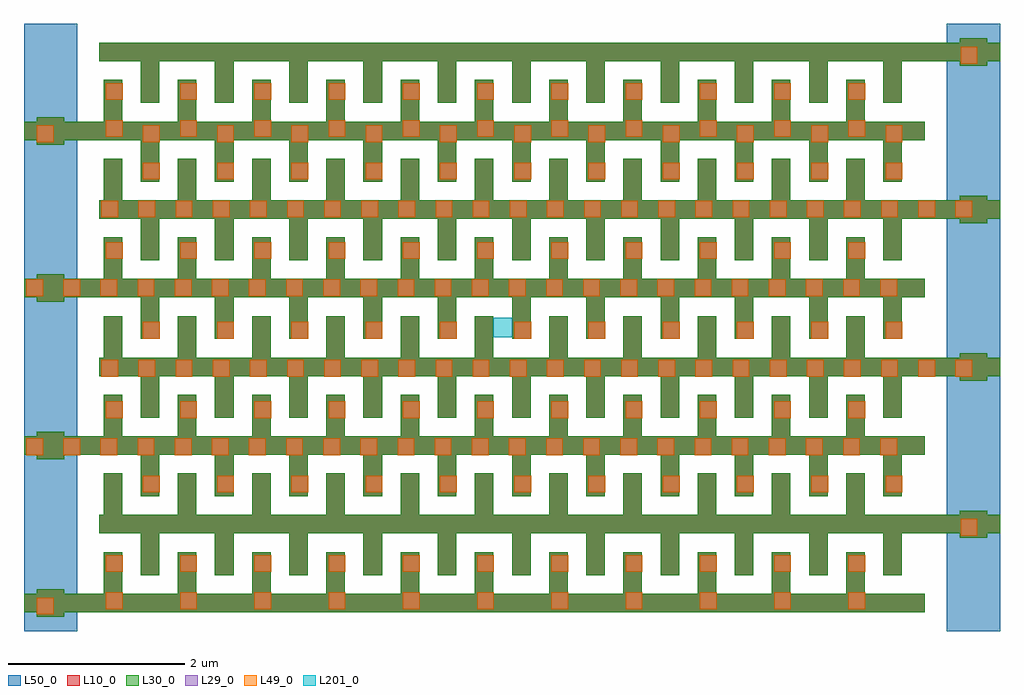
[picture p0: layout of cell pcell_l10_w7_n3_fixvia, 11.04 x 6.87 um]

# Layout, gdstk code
import gdstk
lib = gdstk.Library(unit=1e-6, precision=1e-09)
def R(c, l, rs):  # rectangles x0, y0, x1, y1
    for r in rs: c.add(gdstk.rectangle(r[:2], r[2:], *l))
def A(c, l, x, y, w, h, nx, ny, dx, dy):  # array of equal rectangles
    R(c, l, [(x+i*dx, y+j*dy, x+i*dx+w, y+j*dy+h) for i in range(nx) for j in range(ny)])
def P(c, l, *ps):  # polygons
    for p in ps: c.add(gdstk.Polygon(p, *l))
L10_0 = (10, 0)
L29_0 = (29, 0)
L30_0 = (30, 0)
L49_0 = (49, 0)
L50_0 = (50, 0)
L201_0 = (201, 0)

pcell_l10_w7_n3_fixvia = lib.new_cell('pcell_l10_w7_n3_fixvia')
P(pcell_l10_w7_n3_fixvia, L10_0, [(-0.755,-0.155),(-0.755,-0.105),(-0.9,-0.105),(-0.9,0.105),(-0.755,0.105),(-0.755,0.155),(-0.445,0.155),(-0.445,0.105),(0,0.105),(0,0.575),(0.21,0.575),(0.21,0.105),(0.84,0.105),(0.84,0.575),(1.05,0.575),(1.05,0.105),(1.68,0.105),(1.68,0.575),(1.89,0.575),(1.89,0.105),(2.52,0.105),(2.52,0.575),(2.73,0.575),(2.73,0.105),(3.36,0.105),(3.36,0.575),(3.57,0.575),(3.57,0.105),(4.2,0.105),(4.2,0.575),(4.41,0.575),(4.41,0.105),(5.04,0.105),(5.04,0.575),(5.25,0.575),(5.25,0.105),(5.88,0.105),(5.88,0.575),(6.09,0.575),(6.09,0.105),(6.72,0.105),(6.72,0.575),(6.93,0.575),(6.93,0.105),(7.56,0.105),(7.56,0.575),(7.77,0.575),(7.77,0.105),(8.4,0.105),(8.4,0.575),(8.61,0.575),(8.61,0.105),(9.29,0.105),(9.29,-0.105),(-0.445,-0.105),(-0.445,-0.155)],
  [(0.42,1.205),(0.42,1.675),(-0.445,1.675),(-0.445,1.625),(-0.755,1.625),(-0.755,1.675),(-0.9,1.675),(-0.9,1.885),(-0.755,1.885),(-0.755,1.935),(-0.445,1.935),(-0.445,1.885),(0,1.885),(0,2.355),(0.21,2.355),(0.21,1.885),(0.84,1.885),(0.84,2.355),(1.05,2.355),(1.05,1.885),(1.68,1.885),(1.68,2.355),(1.89,2.355),(1.89,1.885),(2.52,1.885),(2.52,2.355),(2.73,2.355),(2.73,1.885),(3.36,1.885),(3.36,2.355),(3.57,2.355),(3.57,1.885),(4.2,1.885),(4.2,2.355),(4.41,2.355),(4.41,1.885),(5.04,1.885),(5.04,2.355),(5.25,2.355),(5.25,1.885),(5.88,1.885),(5.88,2.355),(6.09,2.355),(6.09,1.885),(6.72,1.885),(6.72,2.355),(6.93,2.355),(6.93,1.885),(7.56,1.885),(7.56,2.355),(7.77,2.355),(7.77,1.885),(8.4,1.885),(8.4,2.355),(8.61,2.355),(8.61,1.885),(9.29,1.885),(9.29,1.675),(9.03,1.675),(9.03,1.205),(8.82,1.205),(8.82,1.675),(8.19,1.675),(8.19,1.205),(7.98,1.205),(7.98,1.675),(7.35,1.675),(7.35,1.205),(7.14,1.205),(7.14,1.675),(6.51,1.675),(6.51,1.205),(6.3,1.205),(6.3,1.675),(5.67,1.675),(5.67,1.205),(5.46,1.205),(5.46,1.675),(4.83,1.675),(4.83,1.205),(4.62,1.205),(4.62,1.675),(3.99,1.675),(3.99,1.205),(3.78,1.205),(3.78,1.675),(3.15,1.675),(3.15,1.205),(2.94,1.205),(2.94,1.675),(2.31,1.675),(2.31,1.205),(2.1,1.205),(2.1,1.675),(1.47,1.675),(1.47,1.205),(1.26,1.205),(1.26,1.675),(0.63,1.675),(0.63,1.205)],
  [(0.42,2.985),(0.42,3.455),(-0.445,3.455),(-0.445,3.405),(-0.755,3.405),(-0.755,3.455),(-0.9,3.455),(-0.9,3.665),(-0.755,3.665),(-0.755,3.715),(-0.445,3.715),(-0.445,3.665),(0,3.665),(0,4.135),(0.21,4.135),(0.21,3.665),(0.84,3.665),(0.84,4.135),(1.05,4.135),(1.05,3.665),(1.68,3.665),(1.68,4.135),(1.89,4.135),(1.89,3.665),(2.52,3.665),(2.52,4.135),(2.73,4.135),(2.73,3.665),(3.36,3.665),(3.36,4.135),(3.57,4.135),(3.57,3.665),(4.2,3.665),(4.2,4.135),(4.41,4.135),(4.41,3.665),(5.04,3.665),(5.04,4.135),(5.25,4.135),(5.25,3.665),(5.88,3.665),(5.88,4.135),(6.09,4.135),(6.09,3.665),(6.72,3.665),(6.72,4.135),(6.93,4.135),(6.93,3.665),(7.56,3.665),(7.56,4.135),(7.77,4.135),(7.77,3.665),(8.4,3.665),(8.4,4.135),(8.61,4.135),(8.61,3.665),(9.29,3.665),(9.29,3.455),(9.03,3.455),(9.03,2.985),(8.82,2.985),(8.82,3.455),(8.19,3.455),(8.19,2.985),(7.98,2.985),(7.98,3.455),(7.35,3.455),(7.35,2.985),(7.14,2.985),(7.14,3.455),(6.51,3.455),(6.51,2.985),(6.3,2.985),(6.3,3.455),(5.67,3.455),(5.67,2.985),(5.46,2.985),(5.46,3.455),(4.83,3.455),(4.83,2.985),(4.62,2.985),(4.62,3.455),(3.99,3.455),(3.99,2.985),(3.78,2.985),(3.78,3.455),(3.15,3.455),(3.15,2.985),(2.94,2.985),(2.94,3.455),(2.31,3.455),(2.31,2.985),(2.1,2.985),(2.1,3.455),(1.47,3.455),(1.47,2.985),(1.26,2.985),(1.26,3.455),(0.63,3.455),(0.63,2.985)],
  [(0.42,4.765),(0.42,5.235),(-0.445,5.235),(-0.445,5.185),(-0.755,5.185),(-0.755,5.235),(-0.9,5.235),(-0.9,5.445),(-0.755,5.445),(-0.755,5.495),(-0.445,5.495),(-0.445,5.445),(0,5.445),(0,5.915),(0.21,5.915),(0.21,5.445),(0.84,5.445),(0.84,5.915),(1.05,5.915),(1.05,5.445),(1.68,5.445),(1.68,5.915),(1.89,5.915),(1.89,5.445),(2.52,5.445),(2.52,5.915),(2.73,5.915),(2.73,5.445),(3.36,5.445),(3.36,5.915),(3.57,5.915),(3.57,5.445),(4.2,5.445),(4.2,5.915),(4.41,5.915),(4.41,5.445),(5.04,5.445),(5.04,5.915),(5.25,5.915),(5.25,5.445),(5.88,5.445),(5.88,5.915),(6.09,5.915),(6.09,5.445),(6.72,5.445),(6.72,5.915),(6.93,5.915),(6.93,5.445),(7.56,5.445),(7.56,5.915),(7.77,5.915),(7.77,5.445),(8.4,5.445),(8.4,5.915),(8.61,5.915),(8.61,5.445),(9.29,5.445),(9.29,5.235),(9.03,5.235),(9.03,4.765),(8.82,4.765),(8.82,5.235),(8.19,5.235),(8.19,4.765),(7.98,4.765),(7.98,5.235),(7.35,5.235),(7.35,4.765),(7.14,4.765),(7.14,5.235),(6.51,5.235),(6.51,4.765),(6.3,4.765),(6.3,5.235),(5.67,5.235),(5.67,4.765),(5.46,4.765),(5.46,5.235),(4.83,5.235),(4.83,4.765),(4.62,4.765),(4.62,5.235),(3.99,5.235),(3.99,4.765),(3.78,4.765),(3.78,5.235),(3.15,5.235),(3.15,4.765),(2.94,4.765),(2.94,5.235),(2.31,5.235),(2.31,4.765),(2.1,4.765),(2.1,5.235),(1.47,5.235),(1.47,4.765),(1.26,4.765),(1.26,5.235),(0.63,5.235),(0.63,4.765)],
  [(0.42,0.315),(0.42,0.785),(-0.05,0.785),(-0.05,0.995),(0,0.995),(0,1.465),(0.21,1.465),(0.21,0.995),(0.84,0.995),(0.84,1.465),(1.05,1.465),(1.05,0.995),(1.68,0.995),(1.68,1.465),(1.89,1.465),(1.89,0.995),(2.52,0.995),(2.52,1.465),(2.73,1.465),(2.73,0.995),(3.36,0.995),(3.36,1.465),(3.57,1.465),(3.57,0.995),(4.2,0.995),(4.2,1.465),(4.41,1.465),(4.41,0.995),(5.04,0.995),(5.04,1.465),(5.25,1.465),(5.25,0.995),(5.88,0.995),(5.88,1.465),(6.09,1.465),(6.09,0.995),(6.72,0.995),(6.72,1.465),(6.93,1.465),(6.93,0.995),(7.56,0.995),(7.56,1.465),(7.77,1.465),(7.77,0.995),(8.4,0.995),(8.4,1.465),(8.61,1.465),(8.61,0.995),(9.685,0.995),(9.685,1.045),(9.995,1.045),(9.995,0.995),(10.14,0.995),(10.14,0.785),(9.995,0.785),(9.995,0.735),(9.685,0.735),(9.685,0.785),(9.03,0.785),(9.03,0.315),(8.82,0.315),(8.82,0.785),(8.19,0.785),(8.19,0.315),(7.98,0.315),(7.98,0.785),(7.35,0.785),(7.35,0.315),(7.14,0.315),(7.14,0.785),(6.51,0.785),(6.51,0.315),(6.3,0.315),(6.3,0.785),(5.67,0.785),(5.67,0.315),(5.46,0.315),(5.46,0.785),(4.83,0.785),(4.83,0.315),(4.62,0.315),(4.62,0.785),(3.99,0.785),(3.99,0.315),(3.78,0.315),(3.78,0.785),(3.15,0.785),(3.15,0.315),(2.94,0.315),(2.94,0.785),(2.31,0.785),(2.31,0.315),(2.1,0.315),(2.1,0.785),(1.47,0.785),(1.47,0.315),(1.26,0.315),(1.26,0.785),(0.63,0.785),(0.63,0.315)],
  [(0.42,2.095),(0.42,2.565),(-0.05,2.565),(-0.05,2.775),(0,2.775),(0,3.245),(0.21,3.245),(0.21,2.775),(0.84,2.775),(0.84,3.245),(1.05,3.245),(1.05,2.775),(1.68,2.775),(1.68,3.245),(1.89,3.245),(1.89,2.775),(2.52,2.775),(2.52,3.245),(2.73,3.245),(2.73,2.775),(3.36,2.775),(3.36,3.245),(3.57,3.245),(3.57,2.775),(4.2,2.775),(4.2,3.245),(4.41,3.245),(4.41,2.775),(5.04,2.775),(5.04,3.245),(5.25,3.245),(5.25,2.775),(5.88,2.775),(5.88,3.245),(6.09,3.245),(6.09,2.775),(6.72,2.775),(6.72,3.245),(6.93,3.245),(6.93,2.775),(7.56,2.775),(7.56,3.245),(7.77,3.245),(7.77,2.775),(8.4,2.775),(8.4,3.245),(8.61,3.245),(8.61,2.775),(9.685,2.775),(9.685,2.825),(9.995,2.825),(9.995,2.775),(10.14,2.775),(10.14,2.565),(9.995,2.565),(9.995,2.515),(9.685,2.515),(9.685,2.565),(9.03,2.565),(9.03,2.095),(8.82,2.095),(8.82,2.565),(8.19,2.565),(8.19,2.095),(7.98,2.095),(7.98,2.565),(7.35,2.565),(7.35,2.095),(7.14,2.095),(7.14,2.565),(6.51,2.565),(6.51,2.095),(6.3,2.095),(6.3,2.565),(5.67,2.565),(5.67,2.095),(5.46,2.095),(5.46,2.565),(4.83,2.565),(4.83,2.095),(4.62,2.095),(4.62,2.565),(3.99,2.565),(3.99,2.095),(3.78,2.095),(3.78,2.565),(3.15,2.565),(3.15,2.095),(2.94,2.095),(2.94,2.565),(2.31,2.565),(2.31,2.095),(2.1,2.095),(2.1,2.565),(1.47,2.565),(1.47,2.095),(1.26,2.095),(1.26,2.565),(0.63,2.565),(0.63,2.095)],
  [(0.42,3.875),(0.42,4.345),(-0.05,4.345),(-0.05,4.555),(0,4.555),(0,5.025),(0.21,5.025),(0.21,4.555),(0.84,4.555),(0.84,5.025),(1.05,5.025),(1.05,4.555),(1.68,4.555),(1.68,5.025),(1.89,5.025),(1.89,4.555),(2.52,4.555),(2.52,5.025),(2.73,5.025),(2.73,4.555),(3.36,4.555),(3.36,5.025),(3.57,5.025),(3.57,4.555),(4.2,4.555),(4.2,5.025),(4.41,5.025),(4.41,4.555),(5.04,4.555),(5.04,5.025),(5.25,5.025),(5.25,4.555),(5.88,4.555),(5.88,5.025),(6.09,5.025),(6.09,4.555),(6.72,4.555),(6.72,5.025),(6.93,5.025),(6.93,4.555),(7.56,4.555),(7.56,5.025),(7.77,5.025),(7.77,4.555),(8.4,4.555),(8.4,5.025),(8.61,5.025),(8.61,4.555),(9.685,4.555),(9.685,4.605),(9.995,4.605),(9.995,4.555),(10.14,4.555),(10.14,4.345),(9.995,4.345),(9.995,4.295),(9.685,4.295),(9.685,4.345),(9.03,4.345),(9.03,3.875),(8.82,3.875),(8.82,4.345),(8.19,4.345),(8.19,3.875),(7.98,3.875),(7.98,4.345),(7.35,4.345),(7.35,3.875),(7.14,3.875),(7.14,4.345),(6.51,4.345),(6.51,3.875),(6.3,3.875),(6.3,4.345),(5.67,4.345),(5.67,3.875),(5.46,3.875),(5.46,4.345),(4.83,4.345),(4.83,3.875),(4.62,3.875),(4.62,4.345),(3.99,4.345),(3.99,3.875),(3.78,3.875),(3.78,4.345),(3.15,4.345),(3.15,3.875),(2.94,3.875),(2.94,4.345),(2.31,4.345),(2.31,3.875),(2.1,3.875),(2.1,4.345),(1.47,4.345),(1.47,3.875),(1.26,3.875),(1.26,4.345),(0.63,4.345),(0.63,3.875)],
  [(0.42,5.655),(0.42,6.125),(-0.05,6.125),(-0.05,6.335),(9.685,6.335),(9.685,6.385),(9.995,6.385),(9.995,6.335),(10.14,6.335),(10.14,6.125),(9.995,6.125),(9.995,6.075),(9.685,6.075),(9.685,6.125),(9.03,6.125),(9.03,5.655),(8.82,5.655),(8.82,6.125),(8.19,6.125),(8.19,5.655),(7.98,5.655),(7.98,6.125),(7.35,6.125),(7.35,5.655),(7.14,5.655),(7.14,6.125),(6.51,6.125),(6.51,5.655),(6.3,5.655),(6.3,6.125),(5.67,6.125),(5.67,5.655),(5.46,5.655),(5.46,6.125),(4.83,6.125),(4.83,5.655),(4.62,5.655),(4.62,6.125),(3.99,6.125),(3.99,5.655),(3.78,5.655),(3.78,6.125),(3.15,6.125),(3.15,5.655),(2.94,5.655),(2.94,6.125),(2.31,6.125),(2.31,5.655),(2.1,5.655),(2.1,6.125),(1.47,6.125),(1.47,5.655),(1.26,5.655),(1.26,6.125),(0.63,6.125),(0.63,5.655)])
A(pcell_l10_w7_n3_fixvia, L29_0, 0.025, -0.07, 0.19, 0.19, 11, 2, 0.84, 0.42)
A(pcell_l10_w7_n3_fixvia, L29_0, 0.445, 1.25, 0.19, 0.19, 11, 2, 0.84, 1.74)
A(pcell_l10_w7_n3_fixvia, L29_0, -0.875, 1.67, 0.19, 0.19, 24, 2, 0.42, 1.8)
A(pcell_l10_w7_n3_fixvia, L29_0, 0.025, 2.09, 0.19, 0.19, 11, 2, 0.84, 1.8)
A(pcell_l10_w7_n3_fixvia, L29_0, -0.025, 2.56, 0.19, 0.19, 24, 2, 0.42, 1.8)
A(pcell_l10_w7_n3_fixvia, L29_0, 0.445, 4.79, 0.19, 0.19, 11, 2, 0.84, 0.42)
A(pcell_l10_w7_n3_fixvia, L29_0, 0.025, 5.27, 0.19, 0.19, 11, 2, 0.84, 0.42)
R(pcell_l10_w7_n3_fixvia, L29_0, [(-0.755,-0.13,-0.565,0.06), (9.695,0.76,9.885,0.95), (-0.755,5.21,-0.565,5.4), (9.695,6.1,9.885,6.29)])
P(pcell_l10_w7_n3_fixvia, L30_0, [(-0.755,-0.155),(-0.755,-0.105),(-0.9,-0.105),(-0.9,0.105),(-0.755,0.105),(-0.755,0.155),(-0.445,0.155),(-0.445,0.105),(0,0.105),(0,0.575),(0.21,0.575),(0.21,0.105),(0.84,0.105),(0.84,0.575),(1.05,0.575),(1.05,0.105),(1.68,0.105),(1.68,0.575),(1.89,0.575),(1.89,0.105),(2.52,0.105),(2.52,0.575),(2.73,0.575),(2.73,0.105),(3.36,0.105),(3.36,0.575),(3.57,0.575),(3.57,0.105),(4.2,0.105),(4.2,0.575),(4.41,0.575),(4.41,0.105),(5.04,0.105),(5.04,0.575),(5.25,0.575),(5.25,0.105),(5.88,0.105),(5.88,0.575),(6.09,0.575),(6.09,0.105),(6.72,0.105),(6.72,0.575),(6.93,0.575),(6.93,0.105),(7.56,0.105),(7.56,0.575),(7.77,0.575),(7.77,0.105),(8.4,0.105),(8.4,0.575),(8.61,0.575),(8.61,0.105),(9.29,0.105),(9.29,-0.105),(-0.445,-0.105),(-0.445,-0.155)],
  [(0.42,1.205),(0.42,1.675),(-0.445,1.675),(-0.445,1.625),(-0.755,1.625),(-0.755,1.675),(-0.9,1.675),(-0.9,1.885),(-0.755,1.885),(-0.755,1.935),(-0.445,1.935),(-0.445,1.885),(0,1.885),(0,2.355),(0.21,2.355),(0.21,1.885),(0.84,1.885),(0.84,2.355),(1.05,2.355),(1.05,1.885),(1.68,1.885),(1.68,2.355),(1.89,2.355),(1.89,1.885),(2.52,1.885),(2.52,2.355),(2.73,2.355),(2.73,1.885),(3.36,1.885),(3.36,2.355),(3.57,2.355),(3.57,1.885),(4.2,1.885),(4.2,2.355),(4.41,2.355),(4.41,1.885),(5.04,1.885),(5.04,2.355),(5.25,2.355),(5.25,1.885),(5.88,1.885),(5.88,2.355),(6.09,2.355),(6.09,1.885),(6.72,1.885),(6.72,2.355),(6.93,2.355),(6.93,1.885),(7.56,1.885),(7.56,2.355),(7.77,2.355),(7.77,1.885),(8.4,1.885),(8.4,2.355),(8.61,2.355),(8.61,1.885),(9.29,1.885),(9.29,1.675),(9.03,1.675),(9.03,1.205),(8.82,1.205),(8.82,1.675),(8.19,1.675),(8.19,1.205),(7.98,1.205),(7.98,1.675),(7.35,1.675),(7.35,1.205),(7.14,1.205),(7.14,1.675),(6.51,1.675),(6.51,1.205),(6.3,1.205),(6.3,1.675),(5.67,1.675),(5.67,1.205),(5.46,1.205),(5.46,1.675),(4.83,1.675),(4.83,1.205),(4.62,1.205),(4.62,1.675),(3.99,1.675),(3.99,1.205),(3.78,1.205),(3.78,1.675),(3.15,1.675),(3.15,1.205),(2.94,1.205),(2.94,1.675),(2.31,1.675),(2.31,1.205),(2.1,1.205),(2.1,1.675),(1.47,1.675),(1.47,1.205),(1.26,1.205),(1.26,1.675),(0.63,1.675),(0.63,1.205)],
  [(0.42,2.985),(0.42,3.455),(-0.445,3.455),(-0.445,3.405),(-0.755,3.405),(-0.755,3.455),(-0.9,3.455),(-0.9,3.665),(-0.755,3.665),(-0.755,3.715),(-0.445,3.715),(-0.445,3.665),(0,3.665),(0,4.135),(0.21,4.135),(0.21,3.665),(0.84,3.665),(0.84,4.135),(1.05,4.135),(1.05,3.665),(1.68,3.665),(1.68,4.135),(1.89,4.135),(1.89,3.665),(2.52,3.665),(2.52,4.135),(2.73,4.135),(2.73,3.665),(3.36,3.665),(3.36,4.135),(3.57,4.135),(3.57,3.665),(4.2,3.665),(4.2,4.135),(4.41,4.135),(4.41,3.665),(5.04,3.665),(5.04,4.135),(5.25,4.135),(5.25,3.665),(5.88,3.665),(5.88,4.135),(6.09,4.135),(6.09,3.665),(6.72,3.665),(6.72,4.135),(6.93,4.135),(6.93,3.665),(7.56,3.665),(7.56,4.135),(7.77,4.135),(7.77,3.665),(8.4,3.665),(8.4,4.135),(8.61,4.135),(8.61,3.665),(9.29,3.665),(9.29,3.455),(9.03,3.455),(9.03,2.985),(8.82,2.985),(8.82,3.455),(8.19,3.455),(8.19,2.985),(7.98,2.985),(7.98,3.455),(7.35,3.455),(7.35,2.985),(7.14,2.985),(7.14,3.455),(6.51,3.455),(6.51,2.985),(6.3,2.985),(6.3,3.455),(5.67,3.455),(5.67,2.985),(5.46,2.985),(5.46,3.455),(4.83,3.455),(4.83,2.985),(4.62,2.985),(4.62,3.455),(3.99,3.455),(3.99,2.985),(3.78,2.985),(3.78,3.455),(3.15,3.455),(3.15,2.985),(2.94,2.985),(2.94,3.455),(2.31,3.455),(2.31,2.985),(2.1,2.985),(2.1,3.455),(1.47,3.455),(1.47,2.985),(1.26,2.985),(1.26,3.455),(0.63,3.455),(0.63,2.985)],
  [(0.42,4.765),(0.42,5.235),(-0.445,5.235),(-0.445,5.185),(-0.755,5.185),(-0.755,5.235),(-0.9,5.235),(-0.9,5.445),(-0.755,5.445),(-0.755,5.495),(-0.445,5.495),(-0.445,5.445),(0,5.445),(0,5.915),(0.21,5.915),(0.21,5.445),(0.84,5.445),(0.84,5.915),(1.05,5.915),(1.05,5.445),(1.68,5.445),(1.68,5.915),(1.89,5.915),(1.89,5.445),(2.52,5.445),(2.52,5.915),(2.73,5.915),(2.73,5.445),(3.36,5.445),(3.36,5.915),(3.57,5.915),(3.57,5.445),(4.2,5.445),(4.2,5.915),(4.41,5.915),(4.41,5.445),(5.04,5.445),(5.04,5.915),(5.25,5.915),(5.25,5.445),(5.88,5.445),(5.88,5.915),(6.09,5.915),(6.09,5.445),(6.72,5.445),(6.72,5.915),(6.93,5.915),(6.93,5.445),(7.56,5.445),(7.56,5.915),(7.77,5.915),(7.77,5.445),(8.4,5.445),(8.4,5.915),(8.61,5.915),(8.61,5.445),(9.29,5.445),(9.29,5.235),(9.03,5.235),(9.03,4.765),(8.82,4.765),(8.82,5.235),(8.19,5.235),(8.19,4.765),(7.98,4.765),(7.98,5.235),(7.35,5.235),(7.35,4.765),(7.14,4.765),(7.14,5.235),(6.51,5.235),(6.51,4.765),(6.3,4.765),(6.3,5.235),(5.67,5.235),(5.67,4.765),(5.46,4.765),(5.46,5.235),(4.83,5.235),(4.83,4.765),(4.62,4.765),(4.62,5.235),(3.99,5.235),(3.99,4.765),(3.78,4.765),(3.78,5.235),(3.15,5.235),(3.15,4.765),(2.94,4.765),(2.94,5.235),(2.31,5.235),(2.31,4.765),(2.1,4.765),(2.1,5.235),(1.47,5.235),(1.47,4.765),(1.26,4.765),(1.26,5.235),(0.63,5.235),(0.63,4.765)],
  [(0.42,0.315),(0.42,0.785),(-0.05,0.785),(-0.05,0.995),(0,0.995),(0,1.465),(0.21,1.465),(0.21,0.995),(0.84,0.995),(0.84,1.465),(1.05,1.465),(1.05,0.995),(1.68,0.995),(1.68,1.465),(1.89,1.465),(1.89,0.995),(2.52,0.995),(2.52,1.465),(2.73,1.465),(2.73,0.995),(3.36,0.995),(3.36,1.465),(3.57,1.465),(3.57,0.995),(4.2,0.995),(4.2,1.465),(4.41,1.465),(4.41,0.995),(5.04,0.995),(5.04,1.465),(5.25,1.465),(5.25,0.995),(5.88,0.995),(5.88,1.465),(6.09,1.465),(6.09,0.995),(6.72,0.995),(6.72,1.465),(6.93,1.465),(6.93,0.995),(7.56,0.995),(7.56,1.465),(7.77,1.465),(7.77,0.995),(8.4,0.995),(8.4,1.465),(8.61,1.465),(8.61,0.995),(9.685,0.995),(9.685,1.045),(9.995,1.045),(9.995,0.995),(10.14,0.995),(10.14,0.785),(9.995,0.785),(9.995,0.735),(9.685,0.735),(9.685,0.785),(9.03,0.785),(9.03,0.315),(8.82,0.315),(8.82,0.785),(8.19,0.785),(8.19,0.315),(7.98,0.315),(7.98,0.785),(7.35,0.785),(7.35,0.315),(7.14,0.315),(7.14,0.785),(6.51,0.785),(6.51,0.315),(6.3,0.315),(6.3,0.785),(5.67,0.785),(5.67,0.315),(5.46,0.315),(5.46,0.785),(4.83,0.785),(4.83,0.315),(4.62,0.315),(4.62,0.785),(3.99,0.785),(3.99,0.315),(3.78,0.315),(3.78,0.785),(3.15,0.785),(3.15,0.315),(2.94,0.315),(2.94,0.785),(2.31,0.785),(2.31,0.315),(2.1,0.315),(2.1,0.785),(1.47,0.785),(1.47,0.315),(1.26,0.315),(1.26,0.785),(0.63,0.785),(0.63,0.315)],
  [(0.42,2.095),(0.42,2.565),(-0.05,2.565),(-0.05,2.775),(0,2.775),(0,3.245),(0.21,3.245),(0.21,2.775),(0.84,2.775),(0.84,3.245),(1.05,3.245),(1.05,2.775),(1.68,2.775),(1.68,3.245),(1.89,3.245),(1.89,2.775),(2.52,2.775),(2.52,3.245),(2.73,3.245),(2.73,2.775),(3.36,2.775),(3.36,3.245),(3.57,3.245),(3.57,2.775),(4.2,2.775),(4.2,3.245),(4.41,3.245),(4.41,2.775),(5.04,2.775),(5.04,3.245),(5.25,3.245),(5.25,2.775),(5.88,2.775),(5.88,3.245),(6.09,3.245),(6.09,2.775),(6.72,2.775),(6.72,3.245),(6.93,3.245),(6.93,2.775),(7.56,2.775),(7.56,3.245),(7.77,3.245),(7.77,2.775),(8.4,2.775),(8.4,3.245),(8.61,3.245),(8.61,2.775),(9.685,2.775),(9.685,2.825),(9.995,2.825),(9.995,2.775),(10.14,2.775),(10.14,2.565),(9.995,2.565),(9.995,2.515),(9.685,2.515),(9.685,2.565),(9.03,2.565),(9.03,2.095),(8.82,2.095),(8.82,2.565),(8.19,2.565),(8.19,2.095),(7.98,2.095),(7.98,2.565),(7.35,2.565),(7.35,2.095),(7.14,2.095),(7.14,2.565),(6.51,2.565),(6.51,2.095),(6.3,2.095),(6.3,2.565),(5.67,2.565),(5.67,2.095),(5.46,2.095),(5.46,2.565),(4.83,2.565),(4.83,2.095),(4.62,2.095),(4.62,2.565),(3.99,2.565),(3.99,2.095),(3.78,2.095),(3.78,2.565),(3.15,2.565),(3.15,2.095),(2.94,2.095),(2.94,2.565),(2.31,2.565),(2.31,2.095),(2.1,2.095),(2.1,2.565),(1.47,2.565),(1.47,2.095),(1.26,2.095),(1.26,2.565),(0.63,2.565),(0.63,2.095)],
  [(0.42,3.875),(0.42,4.345),(-0.05,4.345),(-0.05,4.555),(0,4.555),(0,5.025),(0.21,5.025),(0.21,4.555),(0.84,4.555),(0.84,5.025),(1.05,5.025),(1.05,4.555),(1.68,4.555),(1.68,5.025),(1.89,5.025),(1.89,4.555),(2.52,4.555),(2.52,5.025),(2.73,5.025),(2.73,4.555),(3.36,4.555),(3.36,5.025),(3.57,5.025),(3.57,4.555),(4.2,4.555),(4.2,5.025),(4.41,5.025),(4.41,4.555),(5.04,4.555),(5.04,5.025),(5.25,5.025),(5.25,4.555),(5.88,4.555),(5.88,5.025),(6.09,5.025),(6.09,4.555),(6.72,4.555),(6.72,5.025),(6.93,5.025),(6.93,4.555),(7.56,4.555),(7.56,5.025),(7.77,5.025),(7.77,4.555),(8.4,4.555),(8.4,5.025),(8.61,5.025),(8.61,4.555),(9.685,4.555),(9.685,4.605),(9.995,4.605),(9.995,4.555),(10.14,4.555),(10.14,4.345),(9.995,4.345),(9.995,4.295),(9.685,4.295),(9.685,4.345),(9.03,4.345),(9.03,3.875),(8.82,3.875),(8.82,4.345),(8.19,4.345),(8.19,3.875),(7.98,3.875),(7.98,4.345),(7.35,4.345),(7.35,3.875),(7.14,3.875),(7.14,4.345),(6.51,4.345),(6.51,3.875),(6.3,3.875),(6.3,4.345),(5.67,4.345),(5.67,3.875),(5.46,3.875),(5.46,4.345),(4.83,4.345),(4.83,3.875),(4.62,3.875),(4.62,4.345),(3.99,4.345),(3.99,3.875),(3.78,3.875),(3.78,4.345),(3.15,4.345),(3.15,3.875),(2.94,3.875),(2.94,4.345),(2.31,4.345),(2.31,3.875),(2.1,3.875),(2.1,4.345),(1.47,4.345),(1.47,3.875),(1.26,3.875),(1.26,4.345),(0.63,4.345),(0.63,3.875)],
  [(0.42,5.655),(0.42,6.125),(-0.05,6.125),(-0.05,6.335),(9.685,6.335),(9.685,6.385),(9.995,6.385),(9.995,6.335),(10.14,6.335),(10.14,6.125),(9.995,6.125),(9.995,6.075),(9.685,6.075),(9.685,6.125),(9.03,6.125),(9.03,5.655),(8.82,5.655),(8.82,6.125),(8.19,6.125),(8.19,5.655),(7.98,5.655),(7.98,6.125),(7.35,6.125),(7.35,5.655),(7.14,5.655),(7.14,6.125),(6.51,6.125),(6.51,5.655),(6.3,5.655),(6.3,6.125),(5.67,6.125),(5.67,5.655),(5.46,5.655),(5.46,6.125),(4.83,6.125),(4.83,5.655),(4.62,5.655),(4.62,6.125),(3.99,6.125),(3.99,5.655),(3.78,5.655),(3.78,6.125),(3.15,6.125),(3.15,5.655),(2.94,5.655),(2.94,6.125),(2.31,6.125),(2.31,5.655),(2.1,5.655),(2.1,6.125),(1.47,6.125),(1.47,5.655),(1.26,5.655),(1.26,6.125),(0.63,6.125),(0.63,5.655)])
A(pcell_l10_w7_n3_fixvia, L49_0, 0.025, -0.07, 0.19, 0.19, 11, 2, 0.84, 0.42)
A(pcell_l10_w7_n3_fixvia, L49_0, 0.445, 1.25, 0.19, 0.19, 11, 2, 0.84, 1.74)
A(pcell_l10_w7_n3_fixvia, L49_0, -0.875, 1.67, 0.19, 0.19, 24, 2, 0.42, 1.8)
A(pcell_l10_w7_n3_fixvia, L49_0, 0.025, 2.09, 0.19, 0.19, 11, 2, 0.84, 1.8)
A(pcell_l10_w7_n3_fixvia, L49_0, -0.025, 2.56, 0.19, 0.19, 24, 2, 0.42, 1.8)
A(pcell_l10_w7_n3_fixvia, L49_0, 0.445, 4.79, 0.19, 0.19, 11, 2, 0.84, 0.42)
A(pcell_l10_w7_n3_fixvia, L49_0, 0.025, 5.27, 0.19, 0.19, 11, 2, 0.84, 0.42)
R(pcell_l10_w7_n3_fixvia, L49_0, [(-0.755,-0.13,-0.565,0.06), (9.695,0.76,9.885,0.95), (-0.755,5.21,-0.565,5.4), (9.695,6.1,9.885,6.29)])
P(pcell_l10_w7_n3_fixvia, L50_0, [(-0.9,-0.32),(-0.9,6.55),(-0.3,6.55),(-0.3,5.445),(0,5.445),(0,5.915),(0.21,5.915),(0.21,5.445),(0.84,5.445),(0.84,5.915),(1.05,5.915),(1.05,5.445),(1.68,5.445),(1.68,5.915),(1.89,5.915),(1.89,5.445),(2.52,5.445),(2.52,5.915),(2.73,5.915),(2.73,5.445),(3.36,5.445),(3.36,5.915),(3.57,5.915),(3.57,5.445),(4.2,5.445),(4.2,5.915),(4.41,5.915),(4.41,5.445),(5.04,5.445),(5.04,5.915),(5.25,5.915),(5.25,5.445),(5.88,5.445),(5.88,5.915),(6.09,5.915),(6.09,5.445),(6.72,5.445),(6.72,5.915),(6.93,5.915),(6.93,5.445),(7.56,5.445),(7.56,5.915),(7.77,5.915),(7.77,5.445),(8.4,5.445),(8.4,5.915),(8.61,5.915),(8.61,5.445),(9.29,5.445),(9.29,5.235),(9.03,5.235),(9.03,4.765),(8.82,4.765),(8.82,5.235),(8.19,5.235),(8.19,4.765),(7.98,4.765),(7.98,5.235),(7.35,5.235),(7.35,4.765),(7.14,4.765),(7.14,5.235),(6.51,5.235),(6.51,4.765),(6.3,4.765),(6.3,5.235),(5.67,5.235),(5.67,4.765),(5.46,4.765),(5.46,5.235),(4.83,5.235),(4.83,4.765),(4.62,4.765),(4.62,5.235),(3.99,5.235),(3.99,4.765),(3.78,4.765),(3.78,5.235),(3.15,5.235),(3.15,4.765),(2.94,4.765),(2.94,5.235),(2.31,5.235),(2.31,4.765),(2.1,4.765),(2.1,5.235),(1.47,5.235),(1.47,4.765),(1.26,4.765),(1.26,5.235),(0.63,5.235),(0.63,4.765),(0.42,4.765),(0.42,5.235),(-0.3,5.235),(-0.3,3.665),(0,3.665),(0,4.135),(0.21,4.135),(0.21,3.665),(0.84,3.665),(0.84,4.135),(1.05,4.135),(1.05,3.665),(1.68,3.665),(1.68,4.135),(1.89,4.135),(1.89,3.665),(2.52,3.665),(2.52,4.135),(2.73,4.135),(2.73,3.665),(3.36,3.665),(3.36,4.135),(3.57,4.135),(3.57,3.665),(4.2,3.665),(4.2,4.135),(4.41,4.135),(4.41,3.665),(5.04,3.665),(5.04,4.135),(5.25,4.135),(5.25,3.665),(5.88,3.665),(5.88,4.135),(6.09,4.135),(6.09,3.665),(6.72,3.665),(6.72,4.135),(6.93,4.135),(6.93,3.665),(7.56,3.665),(7.56,4.135),(7.77,4.135),(7.77,3.665),(8.4,3.665),(8.4,4.135),(8.61,4.135),(8.61,3.665),(9.29,3.665),(9.29,3.455),(9.03,3.455),(9.03,2.985),(8.82,2.985),(8.82,3.455),(8.19,3.455),(8.19,2.985),(7.98,2.985),(7.98,3.455),(7.35,3.455),(7.35,2.985),(7.14,2.985),(7.14,3.455),(6.51,3.455),(6.51,2.985),(6.3,2.985),(6.3,3.455),(5.67,3.455),(5.67,2.985),(5.46,2.985),(5.46,3.455),(4.83,3.455),(4.83,2.985),(4.62,2.985),(4.62,3.455),(3.99,3.455),(3.99,2.985),(3.78,2.985),(3.78,3.455),(3.15,3.455),(3.15,2.985),(2.94,2.985),(2.94,3.455),(2.31,3.455),(2.31,2.985),(2.1,2.985),(2.1,3.455),(1.47,3.455),(1.47,2.985),(1.26,2.985),(1.26,3.455),(0.63,3.455),(0.63,2.985),(0.42,2.985),(0.42,3.455),(-0.3,3.455),(-0.3,1.885),(0,1.885),(0,2.355),(0.21,2.355),(0.21,1.885),(0.84,1.885),(0.84,2.355),(1.05,2.355),(1.05,1.885),(1.68,1.885),(1.68,2.355),(1.89,2.355),(1.89,1.885),(2.52,1.885),(2.52,2.355),(2.73,2.355),(2.73,1.885),(3.36,1.885),(3.36,2.355),(3.57,2.355),(3.57,1.885),(4.2,1.885),(4.2,2.355),(4.41,2.355),(4.41,1.885),(5.04,1.885),(5.04,2.355),(5.25,2.355),(5.25,1.885),(5.88,1.885),(5.88,2.355),(6.09,2.355),(6.09,1.885),(6.72,1.885),(6.72,2.355),(6.93,2.355),(6.93,1.885),(7.56,1.885),(7.56,2.355),(7.77,2.355),(7.77,1.885),(8.4,1.885),(8.4,2.355),(8.61,2.355),(8.61,1.885),(9.29,1.885),(9.29,1.675),(9.03,1.675),(9.03,1.205),(8.82,1.205),(8.82,1.675),(8.19,1.675),(8.19,1.205),(7.98,1.205),(7.98,1.675),(7.35,1.675),(7.35,1.205),(7.14,1.205),(7.14,1.675),(6.51,1.675),(6.51,1.205),(6.3,1.205),(6.3,1.675),(5.67,1.675),(5.67,1.205),(5.46,1.205),(5.46,1.675),(4.83,1.675),(4.83,1.205),(4.62,1.205),(4.62,1.675),(3.99,1.675),(3.99,1.205),(3.78,1.205),(3.78,1.675),(3.15,1.675),(3.15,1.205),(2.94,1.205),(2.94,1.675),(2.31,1.675),(2.31,1.205),(2.1,1.205),(2.1,1.675),(1.47,1.675),(1.47,1.205),(1.26,1.205),(1.26,1.675),(0.63,1.675),(0.63,1.205),(0.42,1.205),(0.42,1.675),(-0.3,1.675),(-0.3,0.105),(0,0.105),(0,0.575),(0.21,0.575),(0.21,0.105),(0.84,0.105),(0.84,0.575),(1.05,0.575),(1.05,0.105),(1.68,0.105),(1.68,0.575),(1.89,0.575),(1.89,0.105),(2.52,0.105),(2.52,0.575),(2.73,0.575),(2.73,0.105),(3.36,0.105),(3.36,0.575),(3.57,0.575),(3.57,0.105),(4.2,0.105),(4.2,0.575),(4.41,0.575),(4.41,0.105),(5.04,0.105),(5.04,0.575),(5.25,0.575),(5.25,0.105),(5.88,0.105),(5.88,0.575),(6.09,0.575),(6.09,0.105),(6.72,0.105),(6.72,0.575),(6.93,0.575),(6.93,0.105),(7.56,0.105),(7.56,0.575),(7.77,0.575),(7.77,0.105),(8.4,0.105),(8.4,0.575),(8.61,0.575),(8.61,0.105),(9.29,0.105),(9.29,-0.105),(-0.3,-0.105),(-0.3,-0.32)],
  [(9.54,-0.32),(9.54,0.785),(9.03,0.785),(9.03,0.315),(8.82,0.315),(8.82,0.785),(8.19,0.785),(8.19,0.315),(7.98,0.315),(7.98,0.785),(7.35,0.785),(7.35,0.315),(7.14,0.315),(7.14,0.785),(6.51,0.785),(6.51,0.315),(6.3,0.315),(6.3,0.785),(5.67,0.785),(5.67,0.315),(5.46,0.315),(5.46,0.785),(4.83,0.785),(4.83,0.315),(4.62,0.315),(4.62,0.785),(3.99,0.785),(3.99,0.315),(3.78,0.315),(3.78,0.785),(3.15,0.785),(3.15,0.315),(2.94,0.315),(2.94,0.785),(2.31,0.785),(2.31,0.315),(2.1,0.315),(2.1,0.785),(1.47,0.785),(1.47,0.315),(1.26,0.315),(1.26,0.785),(0.63,0.785),(0.63,0.315),(0.42,0.315),(0.42,0.785),(-0.05,0.785),(-0.05,0.995),(0,0.995),(0,1.465),(0.21,1.465),(0.21,0.995),(0.84,0.995),(0.84,1.465),(1.05,1.465),(1.05,0.995),(1.68,0.995),(1.68,1.465),(1.89,1.465),(1.89,0.995),(2.52,0.995),(2.52,1.465),(2.73,1.465),(2.73,0.995),(3.36,0.995),(3.36,1.465),(3.57,1.465),(3.57,0.995),(4.2,0.995),(4.2,1.465),(4.41,1.465),(4.41,0.995),(5.04,0.995),(5.04,1.465),(5.25,1.465),(5.25,0.995),(5.88,0.995),(5.88,1.465),(6.09,1.465),(6.09,0.995),(6.72,0.995),(6.72,1.465),(6.93,1.465),(6.93,0.995),(7.56,0.995),(7.56,1.465),(7.77,1.465),(7.77,0.995),(8.4,0.995),(8.4,1.465),(8.61,1.465),(8.61,0.995),(9.54,0.995),(9.54,2.565),(9.03,2.565),(9.03,2.095),(8.82,2.095),(8.82,2.565),(8.19,2.565),(8.19,2.095),(7.98,2.095),(7.98,2.565),(7.35,2.565),(7.35,2.095),(7.14,2.095),(7.14,2.565),(6.51,2.565),(6.51,2.095),(6.3,2.095),(6.3,2.565),(5.67,2.565),(5.67,2.095),(5.46,2.095),(5.46,2.565),(4.83,2.565),(4.83,2.095),(4.62,2.095),(4.62,2.565),(3.99,2.565),(3.99,2.095),(3.78,2.095),(3.78,2.565),(3.15,2.565),(3.15,2.095),(2.94,2.095),(2.94,2.565),(2.31,2.565),(2.31,2.095),(2.1,2.095),(2.1,2.565),(1.47,2.565),(1.47,2.095),(1.26,2.095),(1.26,2.565),(0.63,2.565),(0.63,2.095),(0.42,2.095),(0.42,2.565),(-0.05,2.565),(-0.05,2.775),(0,2.775),(0,3.245),(0.21,3.245),(0.21,2.775),(0.84,2.775),(0.84,3.245),(1.05,3.245),(1.05,2.775),(1.68,2.775),(1.68,3.245),(1.89,3.245),(1.89,2.775),(2.52,2.775),(2.52,3.245),(2.73,3.245),(2.73,2.775),(3.36,2.775),(3.36,3.245),(3.57,3.245),(3.57,2.775),(4.2,2.775),(4.2,3.245),(4.41,3.245),(4.41,2.775),(5.04,2.775),(5.04,3.245),(5.25,3.245),(5.25,2.775),(5.88,2.775),(5.88,3.245),(6.09,3.245),(6.09,2.775),(6.72,2.775),(6.72,3.245),(6.93,3.245),(6.93,2.775),(7.56,2.775),(7.56,3.245),(7.77,3.245),(7.77,2.775),(8.4,2.775),(8.4,3.245),(8.61,3.245),(8.61,2.775),(9.54,2.775),(9.54,4.345),(9.03,4.345),(9.03,3.875),(8.82,3.875),(8.82,4.345),(8.19,4.345),(8.19,3.875),(7.98,3.875),(7.98,4.345),(7.35,4.345),(7.35,3.875),(7.14,3.875),(7.14,4.345),(6.51,4.345),(6.51,3.875),(6.3,3.875),(6.3,4.345),(5.67,4.345),(5.67,3.875),(5.46,3.875),(5.46,4.345),(4.83,4.345),(4.83,3.875),(4.62,3.875),(4.62,4.345),(3.99,4.345),(3.99,3.875),(3.78,3.875),(3.78,4.345),(3.15,4.345),(3.15,3.875),(2.94,3.875),(2.94,4.345),(2.31,4.345),(2.31,3.875),(2.1,3.875),(2.1,4.345),(1.47,4.345),(1.47,3.875),(1.26,3.875),(1.26,4.345),(0.63,4.345),(0.63,3.875),(0.42,3.875),(0.42,4.345),(-0.05,4.345),(-0.05,4.555),(0,4.555),(0,5.025),(0.21,5.025),(0.21,4.555),(0.84,4.555),(0.84,5.025),(1.05,5.025),(1.05,4.555),(1.68,4.555),(1.68,5.025),(1.89,5.025),(1.89,4.555),(2.52,4.555),(2.52,5.025),(2.73,5.025),(2.73,4.555),(3.36,4.555),(3.36,5.025),(3.57,5.025),(3.57,4.555),(4.2,4.555),(4.2,5.025),(4.41,5.025),(4.41,4.555),(5.04,4.555),(5.04,5.025),(5.25,5.025),(5.25,4.555),(5.88,4.555),(5.88,5.025),(6.09,5.025),(6.09,4.555),(6.72,4.555),(6.72,5.025),(6.93,5.025),(6.93,4.555),(7.56,4.555),(7.56,5.025),(7.77,5.025),(7.77,4.555),(8.4,4.555),(8.4,5.025),(8.61,5.025),(8.61,4.555),(9.54,4.555),(9.54,6.125),(9.03,6.125),(9.03,5.655),(8.82,5.655),(8.82,6.125),(8.19,6.125),(8.19,5.655),(7.98,5.655),(7.98,6.125),(7.35,6.125),(7.35,5.655),(7.14,5.655),(7.14,6.125),(6.51,6.125),(6.51,5.655),(6.3,5.655),(6.3,6.125),(5.67,6.125),(5.67,5.655),(5.46,5.655),(5.46,6.125),(4.83,6.125),(4.83,5.655),(4.62,5.655),(4.62,6.125),(3.99,6.125),(3.99,5.655),(3.78,5.655),(3.78,6.125),(3.15,6.125),(3.15,5.655),(2.94,5.655),(2.94,6.125),(2.31,6.125),(2.31,5.655),(2.1,5.655),(2.1,6.125),(1.47,6.125),(1.47,5.655),(1.26,5.655),(1.26,6.125),(0.63,6.125),(0.63,5.655),(0.42,5.655),(0.42,6.125),(-0.05,6.125),(-0.05,6.335),(9.54,6.335),(9.54,6.55),(10.14,6.55),(10.14,-0.32)])
R(pcell_l10_w7_n3_fixvia, L201_0, [(4.41,3.005,4.62,3.225)])

lib.write_gds('pcell_l10_w7_n3_fixvia.gds')
